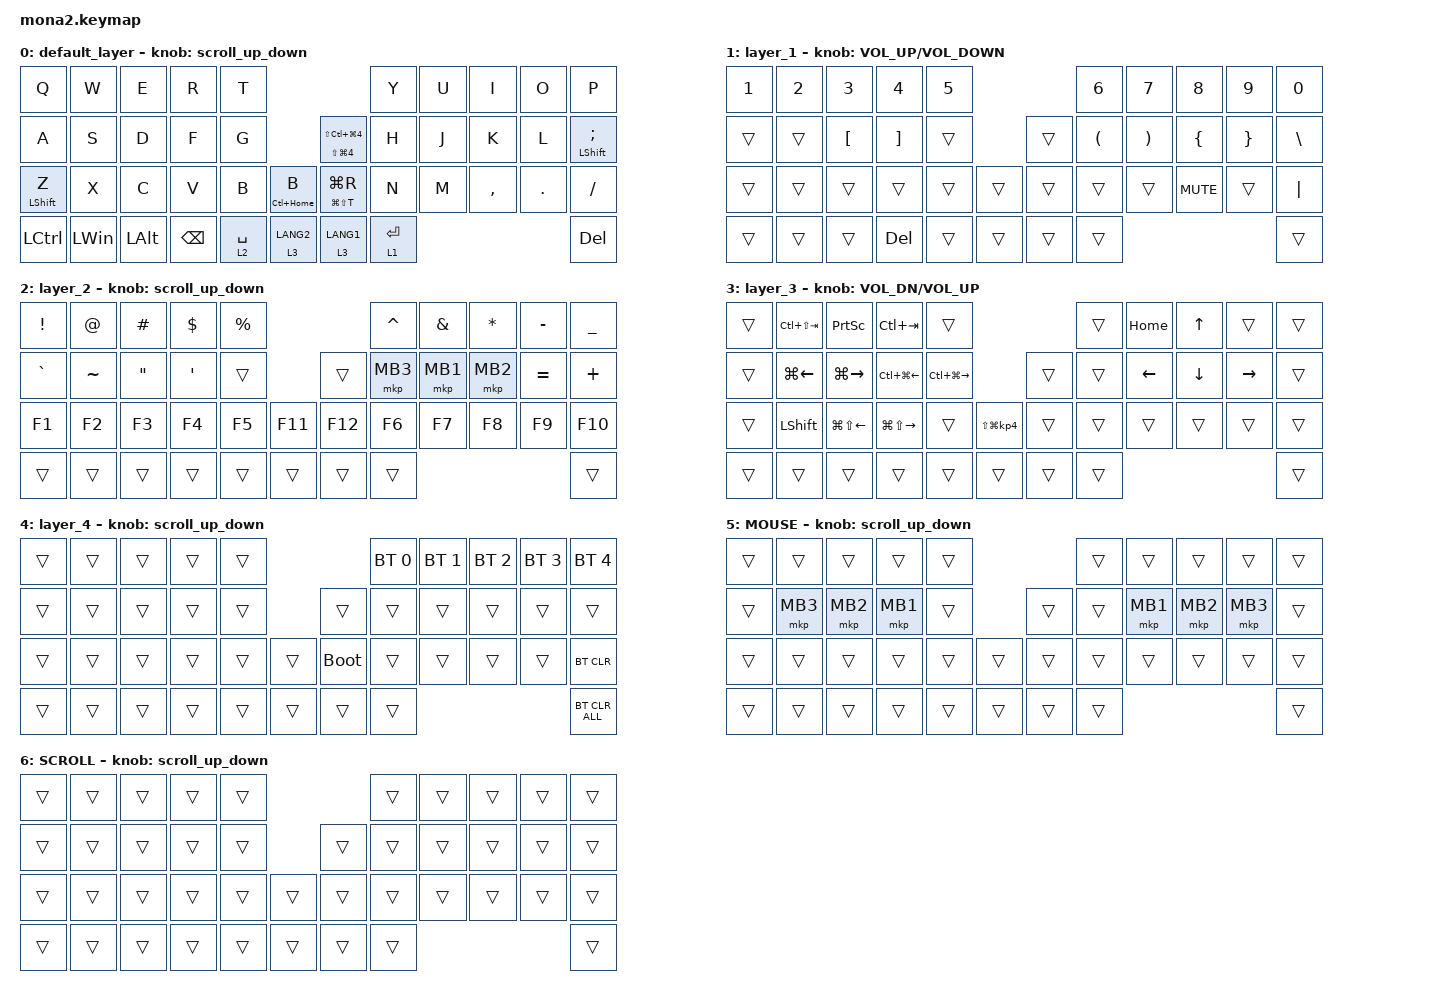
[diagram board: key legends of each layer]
#include <input/processors.dtsi>
#include <dt-bindings/zmk/input_transform.h>
#include <zephyr/dt-bindings/input/input-event-codes.h>
#include <behaviors.dtsi>
#include <dt-bindings/zmk/bt.h>
#include <dt-bindings/zmk/keys.h>
#include <dt-bindings/zmk/pointing.h>

#define ZMK_POINTING_DEFAULT_SCRL_VAL 100
#define MOUSE 5
#define SCROLL 6

&mt {
    flavor = "balanced";
    quick-tap-ms = <0>;
};

&lt {
    quick-tap-ms = <300>;
    flavor = "balanced";
};

/ {
    combos {
        compatible = "zmk,combos";

        layer4_ESC {
            bindings = <&lt 4 ESC>;
            key-positions = <39 38>;
        };

        tab {
            bindings = <&kp TAB>;
            key-positions = <11 12>;
        };

        cmd+shift+v {
            bindings = <&kp LS(LG(V))>;
            key-positions = <22 23>;
        };

        browser_back {
            bindings = <&kp LG(LBKT)>;
            key-positions = <6 7>;
        };

        browser_front {
            bindings = <&kp LG(RBKT)>;
            key-positions = <7 8>;
        };

        shift+tab {
            bindings = <&kp LS(TAB)>;
            key-positions = <1 2>;
        };

        right_tab {
            bindings = <&kp LC(TAB)>;
            key-positions = <30 31>;
        };

        left_tab {
            bindings = <&kp LS(LC(TAB))>;
            key-positions = <29 30>;
        };

        new_tab {
            bindings = <&kp LG(T)>;
            key-positions = <17 18>;
        };

        delete_tab {
            bindings = <&kp LG(W)>;
            key-positions = <18 19>;
        };

        app_switcher {
            bindings = <&kp LG(TAB)>;
            key-positions = <12 13>;
        };
    };

    macros {
        to_layer_0: to_layer_0 {
            compatible = "zmk,behavior-macro-one-param";
            #binding-cells = <1>;
            bindings = <&to 0 &macro_param_1to1 &kp MACRO_PLACEHOLDER>;
            label = "TO_LAYER_0";
        };
    };

    behaviors {
        lt_to_layer_0: lt_to_layer_0 {
            compatible = "zmk,behavior-hold-tap";
            label = "LAYER_TAP_TO_0";
            bindings = <&mo>, <&to_layer_0>;

            #binding-cells = <2>;
            tapping-term-ms = <200>;
        };

        scroll_up_down: mouse_wheel_up_down {
            compatible = "zmk,behavior-sensor-rotate";
            #sensor-binding-cells = <0>;
            bindings = <&msc SCRL_DOWN>, <&msc SCRL_UP>;

            tap-ms = <20>;
        };

        scroll_right_left: mouse_wheel_right_left {
            compatible = "zmk,behavior-sensor-rotate";
            #sensor-binding-cells = <0>;
            bindings = <&msc SCRL_LEFT>, <&msc SCRL_RIGHT>;

            tap-ms = <20>;
        };
    };

    keymap {
        compatible = "zmk,keymap";

        default_layer {
            bindings = <
&kp Q             &kp W         &kp E     &kp R          &kp T                                                                             &kp Y        &kp U  &kp I      &kp O    &kp P
&kp A             &kp S         &kp D     &kp F          &kp G                                  &mt LS(LG(NUMBER_4)) LS(LC(LG(NUMBER_4)))  &kp H        &kp J  &kp K      &kp L    &mt LEFT_SHIFT SEMI
&mt LEFT_SHIFT Z  &kp X         &kp C     &kp V          &kp B        &mt LC(HOME) B            &mt LG(LS(T)) LG(R)                        &kp N        &kp M  &kp COMMA  &kp DOT  &kp SLASH
&kp LCTRL         &kp LEFT_WIN  &kp LALT  &kp BACKSPACE  &lt 2 SPACE  &lt_to_layer_0 3 LANG2    &lt_to_layer_0 3 LANG1                     &lt 1 ENTER                             &kp DELETE
            >;

            sensor-bindings = <&scroll_up_down>;
        };

        layer_1 {
            bindings = <
&kp NUMBER_1  &kp NUMBER_2  &kp NUMBER_3      &kp NUMBER_4       &kp NUMBER_5                    &kp NUMBER_6          &kp NUMBER_7           &kp NUMBER_8    &kp NUMBER_9     &kp NUMBER_0
&trans        &trans        &kp LEFT_BRACKET  &kp RIGHT_BRACKET  &trans                  &trans  &kp LEFT_PARENTHESIS  &kp RIGHT_PARENTHESIS  &kp LEFT_BRACE  &kp RIGHT_BRACE  &kp BACKSLASH
&trans        &trans        &trans            &trans             &trans        &trans    &trans  &trans                &trans                 &kp K_MUTE      &trans           &kp PIPE
&trans        &trans        &trans            &kp DELETE         &trans        &trans    &trans  &trans                                                                        &trans
            >;

            sensor-bindings = <&inc_dec_kp K_VOLUME_UP K_VOLUME_DOWN>;
        };

        layer_2 {
            bindings = <
&kp EXCLAMATION  &kp AT_SIGN  &kp POUND          &kp DOLLAR  &kp PERCENT                      &kp CARET  &kp AMPERSAND  &kp ASTERISK  &kp MINUS  &kp UNDERSCORE
&kp GRAVE        &kp TILDE    &kp DOUBLE_QUOTES  &kp SQT     &trans                  &trans   &mkp MB3   &mkp MB1       &mkp MB2      &kp EQUAL  &kp PLUS
&kp F1           &kp F2       &kp F3             &kp F4      &kp F5       &kp F11    &kp F12  &kp F6     &kp F7         &kp F8        &kp F9     &kp F10
&trans           &trans       &trans             &trans      &trans       &trans     &trans   &trans                                             &trans
            >;

            sensor-bindings = <&scroll_up_down>;
        };

        layer_3 {
            bindings = <
&trans  &kp LC(LS(TAB))     &kp PRINTSCREEN         &kp LC(TAB)              &trans                                                      &trans  &kp HOME        &kp UP_ARROW    &trans           &trans
&trans  &kp LG(LEFT_ARROW)  &kp LG(RIGHT_ARROW)     &kp LC(LG(LEFT_ARROW))   &kp LC(LG(RIGHT_ARROW))                             &trans  &trans  &kp LEFT_ARROW  &kp DOWN_ARROW  &kp RIGHT_ARROW  &trans
&trans  &kp LEFT_SHIFT      &kp LG(LS(LEFT_ARROW))  &kp LG(LS(RIGHT_ARROW))  &trans                   &kp LS(LG(KP_NUMBER_4))    &trans  &trans  &trans          &trans          &trans           &trans
&trans  &trans              &trans                  &trans                   &trans                   &trans                     &trans  &trans                                                   &trans
            >;

            sensor-bindings = <&inc_dec_kp C_VOL_DN C_VOL_UP>;
        };

        layer_4 {
            bindings = <
&trans  &trans  &trans  &trans  &trans                         &bt BT_SEL 0  &bt BT_SEL 1  &bt BT_SEL 2  &bt BT_SEL 3  &bt BT_SEL 4
&trans  &trans  &trans  &trans  &trans            &trans       &trans        &trans        &trans        &trans        &trans
&trans  &trans  &trans  &trans  &trans  &trans    &bootloader  &trans        &trans        &trans        &trans        &bt BT_CLR
&trans  &trans  &trans  &trans  &trans  &trans    &trans       &trans                                                  &bt BT_CLR_ALL
            >;

            sensor-bindings = <&scroll_up_down>;
        };

        MOUSE {
            bindings = <
&trans  &trans    &trans    &trans    &trans                    &trans  &trans    &trans    &trans    &trans
&trans  &mkp MB3  &mkp MB2  &mkp MB1  &trans            &trans  &trans  &mkp MB1  &mkp MB2  &mkp MB3  &trans
&trans  &trans    &trans    &trans    &trans  &trans    &trans  &trans  &trans    &trans    &trans    &trans
&trans  &trans    &trans    &trans    &trans  &trans    &trans  &trans                                &trans
            >;

            sensor-bindings = <&scroll_up_down>;
        };

        SCROLL {
            bindings = <
&trans  &trans  &trans  &trans  &trans                    &trans  &trans  &trans  &trans  &trans
&trans  &trans  &trans  &trans  &trans            &trans  &trans  &trans  &trans  &trans  &trans
&trans  &trans  &trans  &trans  &trans  &trans    &trans  &trans  &trans  &trans  &trans  &trans
&trans  &trans  &trans  &trans  &trans  &trans    &trans  &trans                          &trans
            >;

            sensor-bindings = <&scroll_up_down>;
        };
    };
};
